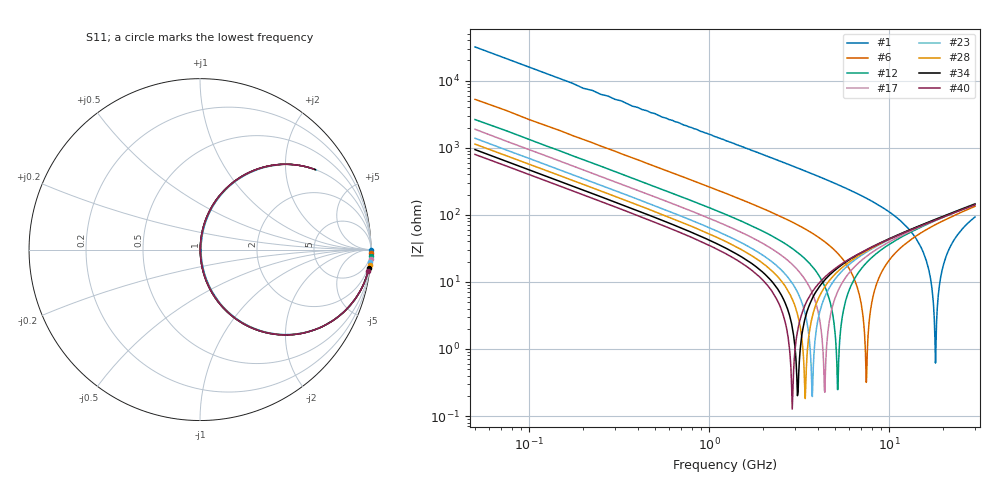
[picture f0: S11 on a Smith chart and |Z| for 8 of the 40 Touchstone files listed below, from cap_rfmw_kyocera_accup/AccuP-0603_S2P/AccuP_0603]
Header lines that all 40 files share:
!	AVX Thin Film Operation 	Date: April 2014
!	Description: Accu-P® Series, Thin Film  SMD RF Capacitor
# MHZ S MA R 50
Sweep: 50 MHz to 30 GHz
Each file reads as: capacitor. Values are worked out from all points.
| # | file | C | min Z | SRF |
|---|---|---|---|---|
| 1 | C0603SE0r1.s2p | 101 fF | 616 mohm | 18.1 GHz |
| 2 | C0603SE0r2.s2p | 200 fF | 502 mohm | 12.82 GHz |
| 3 | C0603SE0r3.s2p | 300 fF | 410 mohm | 10.42 GHz |
| 4 | C0603SE0r4.s2p | 400 fF | 386 mohm | 9.028 GHz |
| 5 | C0603SE0r5.s2p | 500 fF | 316 mohm | 8.09 GHz |
| 6 | C0603SE0r6.s2p | 599 fF | 317 mohm | 7.473 GHz |
| 7 | C0603SE0r7.s2p | 699 fF | 317 mohm | 6.777 GHz |
| 8 | C0603SE0r8.s2p | 800 fF | 301 mohm | 6.429 GHz |
| 9 | C0603SE0r9.s2p | 899 fF | 280 mohm | 6.038 GHz |
| 10 | C0603SE1r0.s2p | 999 fF | 252 mohm | 5.728 GHz |
| 11 | C0603SE1r1.s2p | 1.1 pF | 221 mohm | 5.395 GHz |
| 12 | C0603SE1r2.s2p | 1.2 pF | 248 mohm | 5.179 GHz |
| 13 | C0603SE1r3.s2p | 1.3 pF | 216 mohm | 5.038 GHz |
| 14 | C0603SE1r4.s2p | 1.4 pF | 211 mohm | 4.795 GHz |
| 15 | C0603SE1r5.s2p | 1.5 pF | 212 mohm | 4.712 GHz |
| 16 | C0603SE1r6.s2p | 1.6 pF | 210 mohm | 4.573 GHz |
| 17 | C0603SE1r7.s2p | 1.7 pF | 226 mohm | 4.382 GHz |
| 18 | C0603SE1r8.s2p | 1.8 pF | 197 mohm | 4.218 GHz |
| 19 | C0603SE1r9.s2p | 1.9 pF | 229 mohm | 4.105 GHz |
| 20 | C0603SE2r0.s2p | 2 pF | 220 mohm | 4.08 GHz |
| 21 | C0603SE2r1.s2p | 2.1 pF | 200 mohm | 3.912 GHz |
| 22 | C0603SE2r2.s2p | 2.2 pF | 192 mohm | 3.822 GHz |
| 23 | C0603SE2r3.s2p | 2.3 pF | 195 mohm | 3.739 GHz |
| 24 | C0603SE2r4.s2p | 2.4 pF | 210 mohm | 3.729 GHz |
| 25 | C0603SE2r5.s2p | 2.5 pF | 210 mohm | 3.609 GHz |
| 26 | C0603SE2r6.s2p | 2.6 pF | 213 mohm | 3.583 GHz |
| 27 | C0603SE2r7.s2p | 2.7 pF | 206 mohm | 3.504 GHz |
| 28 | C0603SE2r8.s2p | 2.8 pF | 182 mohm | 3.417 GHz |
| 29 | C0603SE2r9.s2p | 2.9 pF | 186 mohm | 3.399 GHz |
| 30 | C0603SE3r0.s2p | 3 pF | 190 mohm | 3.314 GHz |
| 31 | C0603SE3r1.s2p | 3.1 pF | 209 mohm | 3.18 GHz |
| 32 | C0603SE3r2.s2p | 3.2 pF | 187 mohm | 3.2 GHz |
| 33 | C0603SE3r3.s2p | 3.3 pF | 189 mohm | 3.151 GHz |
| 34 | C0603SE3r4.s2p | 3.4 pF | 201 mohm | 3.105 GHz |
| 35 | C0603SE3r5.s2p | 3.5 pF | 203 mohm | 3.06 GHz |
| 36 | C0603SE3r6.s2p | 3.6 pF | 199 mohm | 3.055 GHz |
| 37 | C0603SE3r7.s2p | 3.7 pF | 188 mohm | 3.013 GHz |
| 38 | C0603SE3r8.s2p | 3.8 pF | 178 mohm | 2.973 GHz |
| 39 | C0603SE3r9.s2p | 3.9 pF | 129 mohm | 2.899 GHz |
| 40 | C0603SE4r0.s2p | 4 pF | 127 mohm | 2.898 GHz |
